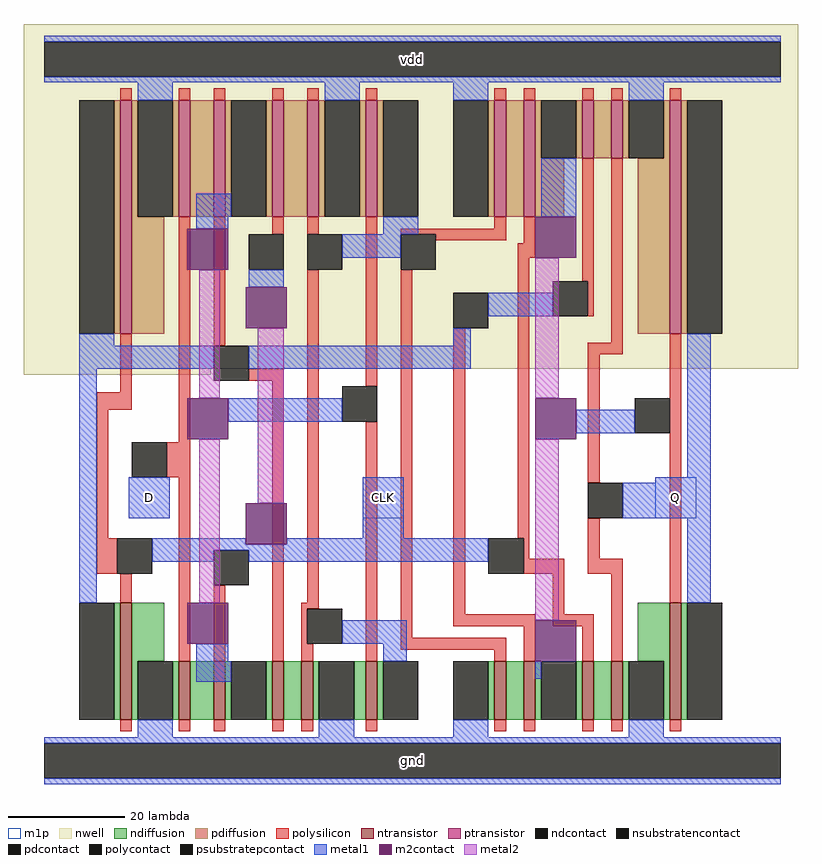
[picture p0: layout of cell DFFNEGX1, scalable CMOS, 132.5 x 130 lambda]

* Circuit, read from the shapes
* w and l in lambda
.subckt DFFNEGX1 D CLK Q vdd gnd
M1 gnd CLK n1 gnd nfet w=20 l=2
M2 n2 D gnd gnd nfet w=10 l=2
M3 n3 CLK n2 gnd nfet w=10 l=2
M4 n4 n1 n3 gnd nfet w=10 l=2
M5 gnd n5 n4 gnd nfet w=10 l=2
M6 n5 n3 gnd gnd nfet w=10 l=2
M7 n6 n5 gnd gnd nfet w=10 l=2
M8 n7 n1 n6 gnd nfet w=10 l=2
M9 n8 CLK n7 gnd nfet w=10 l=2
M10 gnd Q n8 gnd nfet w=10 l=2
M11 Q n7 gnd gnd nfet w=20 l=2
M12 vdd CLK n1 vdd pfet w=40 l=2
M13 n9 D vdd vdd pfet w=20 l=2
M14 n3 n1 n9 vdd pfet w=20 l=2
M15 n10 CLK n3 vdd pfet w=20 l=2
M16 vdd n5 n10 vdd pfet w=20 l=2
M17 n5 n3 vdd vdd pfet w=20 l=2
M18 n11 n5 vdd vdd pfet w=20 l=2
M19 n7 CLK n11 vdd pfet w=20 l=2
M20 n12 n1 n7 vdd pfet w=10 l=2
M21 vdd Q n12 vdd pfet w=10 l=2
M22 Q n7 vdd vdd pfet w=40 l=2
.ends

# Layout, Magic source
magic
tech scmos
magscale 1 2
<< nwell >>
rect -13 134 252 252
rect -13 132 51 134
<< ntransistor >>
rect 20 14 24 54
rect 40 14 44 34
rect 52 14 56 34
rect 72 14 76 34
rect 82 14 86 34
rect 104 14 108 34
rect 148 14 152 34
rect 158 14 162 34
rect 178 14 182 34
rect 188 14 192 34
rect 208 14 212 54
<< ptransistor >>
rect 20 146 24 226
rect 40 186 44 226
rect 52 186 56 226
rect 72 186 76 226
rect 84 186 88 226
rect 104 186 108 226
rect 148 186 152 226
rect 158 186 162 226
rect 178 206 182 226
rect 188 206 192 226
rect 208 146 212 226
<< ndiffusion >>
rect 18 14 20 54
rect 24 34 35 54
rect 197 34 208 54
rect 24 14 26 34
rect 38 14 40 34
rect 44 14 52 34
rect 56 14 58 34
rect 70 14 72 34
rect 76 14 82 34
rect 86 14 88 34
rect 100 14 104 34
rect 108 14 110 34
rect 146 14 148 34
rect 152 14 158 34
rect 162 14 164 34
rect 176 14 178 34
rect 182 14 188 34
rect 192 14 194 34
rect 206 14 208 34
rect 212 14 214 54
<< pdiffusion >>
rect 18 146 20 226
rect 24 186 26 226
rect 38 186 40 226
rect 44 186 52 226
rect 56 186 58 226
rect 70 186 72 226
rect 76 186 84 226
rect 88 186 90 226
rect 102 186 104 226
rect 108 186 110 226
rect 146 186 148 226
rect 152 186 158 226
rect 162 206 164 226
rect 176 206 178 226
rect 182 206 188 226
rect 192 206 194 226
rect 206 206 208 226
rect 162 186 172 206
rect 24 146 35 186
rect 197 146 208 206
rect 212 146 214 226
<< ndcontact >>
rect 6 14 18 54
rect 26 14 38 34
rect 58 14 70 34
rect 88 14 100 34
rect 110 14 122 34
rect 134 14 146 34
rect 164 14 176 34
rect 194 14 206 34
rect 214 14 226 54
<< pdcontact >>
rect 6 146 18 226
rect 26 186 38 226
rect 58 186 70 226
rect 90 186 102 226
rect 110 186 122 226
rect 134 186 146 226
rect 164 206 176 226
rect 194 206 206 226
rect 214 146 226 226
<< psubstratepcontact >>
rect -6 -6 246 6
<< nsubstratencontact >>
rect -6 234 246 246
<< polysilicon >>
rect 20 226 24 230
rect 40 226 44 230
rect 52 226 56 230
rect 72 226 76 230
rect 84 226 88 230
rect 104 226 108 230
rect 148 226 152 230
rect 158 226 162 230
rect 178 226 182 230
rect 188 226 192 230
rect 208 226 212 230
rect 20 126 24 146
rect 12 120 24 126
rect 12 76 16 120
rect 40 109 44 186
rect 52 142 56 186
rect 72 180 76 186
rect 84 180 88 186
rect 64 130 76 134
rect 36 97 44 109
rect 12 64 19 76
rect 20 54 24 64
rect 40 34 44 97
rect 52 34 56 60
rect 72 34 76 130
rect 84 54 88 168
rect 104 128 108 186
rect 148 182 152 186
rect 82 52 88 54
rect 82 40 84 52
rect 82 34 86 40
rect 104 34 108 116
rect 116 180 152 182
rect 128 178 152 180
rect 158 177 162 186
rect 156 172 162 177
rect 116 42 120 168
rect 134 50 138 148
rect 156 76 160 172
rect 178 164 182 206
rect 180 152 182 164
rect 188 143 192 206
rect 158 69 160 76
rect 180 139 192 143
rect 180 95 184 139
rect 180 69 184 83
rect 158 64 172 69
rect 180 64 192 69
rect 168 50 172 64
rect 134 46 162 50
rect 168 46 182 50
rect 116 38 152 42
rect 148 34 152 38
rect 158 34 162 46
rect 178 34 182 46
rect 188 34 192 64
rect 208 54 212 146
rect 20 10 24 14
rect 40 10 44 14
rect 52 10 56 14
rect 72 10 76 14
rect 82 10 86 14
rect 104 10 108 14
rect 148 10 152 14
rect 158 10 162 14
rect 178 10 182 14
rect 188 10 192 14
rect 208 10 212 14
<< polycontact >>
rect 64 168 76 180
rect 84 168 96 180
rect 52 130 64 142
rect 24 97 36 109
rect 19 64 31 76
rect 52 60 64 72
rect 96 116 108 128
rect 84 40 96 52
rect 116 168 128 180
rect 134 148 146 160
rect 168 152 180 164
rect 146 64 158 76
rect 196 112 208 124
rect 180 83 192 95
<< metal1 >>
rect -6 246 246 248
rect -6 232 246 234
rect 26 226 38 232
rect 90 226 102 232
rect 134 226 146 232
rect 194 226 206 232
rect 46 186 58 194
rect 164 186 176 206
rect 46 182 57 186
rect 110 180 122 186
rect 96 172 116 180
rect 64 162 76 168
rect 146 152 168 160
rect 6 142 18 146
rect 134 142 140 148
rect 6 134 52 142
rect 6 54 12 134
rect 64 134 140 142
rect 57 116 96 124
rect 176 112 196 120
rect 214 97 222 146
rect 23 83 37 97
rect 31 74 63 76
rect 103 76 117 97
rect 203 95 222 97
rect 192 83 222 95
rect 77 74 146 76
rect 31 72 146 74
rect 31 68 52 72
rect 64 68 146 72
rect 214 54 222 83
rect 96 40 118 48
rect 46 34 57 40
rect 110 34 118 40
rect 46 27 58 34
rect 162 28 164 34
rect 26 8 38 14
rect 88 8 100 14
rect 134 8 146 14
rect 194 8 206 14
rect -6 6 246 8
rect -6 -8 246 -6
<< m2contact >>
rect 43 168 57 182
rect 162 172 176 186
rect 63 148 77 162
rect 43 110 57 124
rect 162 110 176 124
rect 63 74 77 88
rect 43 40 57 54
rect 162 34 176 48
<< metal2 >>
rect 47 124 54 168
rect 47 54 54 110
rect 67 88 76 148
rect 162 124 170 172
rect 162 48 170 110
<< m1p >>
rect 23 83 37 97
rect 103 83 117 97
rect 203 83 217 97
<< labels >>
rlabel metal1 103 83 117 97 0 CLK
port 1 nsew clock input
rlabel metal1 -6 -8 246 8 0 gnd
port 4 nsew ground bidirectional abutment
rlabel metal1 23 83 37 97 0 D
port 0 nsew signal input
rlabel metal1 203 83 217 97 0 Q
port 2 nsew signal output
rlabel metal1 -6 232 246 248 0 vdd
port 3 nsew power bidirectional abutment
<< properties >>
string FIXED_BBOX 0 0 240 240
string LEFclass CORE
string LEFsite core
string LEFsymmetry X Y
<< end >>
